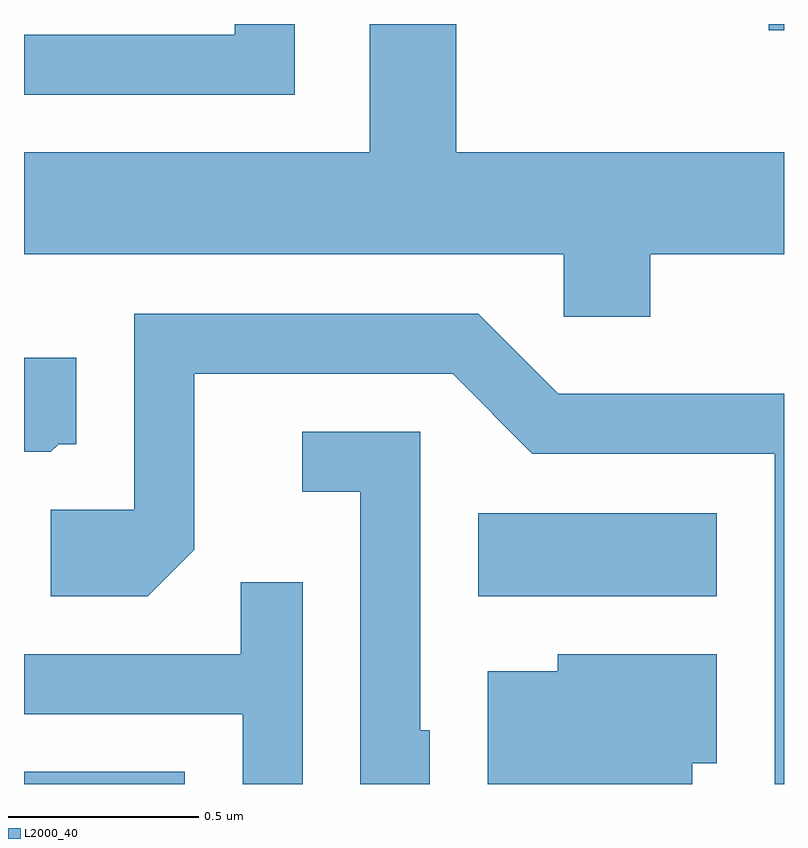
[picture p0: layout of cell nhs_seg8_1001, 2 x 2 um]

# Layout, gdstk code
import gdstk
lib = gdstk.Library(unit=1e-6, precision=1e-09)
def R(c, l, rs):  # rectangles x0, y0, x1, y1
    for r in rs: c.add(gdstk.rectangle(r[:2], r[2:], *l))
def P(c, l, *ps):  # polygons
    for p in ps: c.add(gdstk.Polygon(p, *l))
L2000_40 = (2000, 40)

nhs_seg8_1001 = lib.new_cell('nhs_seg8_1001')
R(nhs_seg8_1001, L2000_40, [(192.611,1848.342,193.034,1848.374), (193.806,1848.836,194.434,1849.054), (194.571,1850.326,194.611,1850.342)])
P(nhs_seg8_1001, L2000_40, [(194.259,1849.736),(194.611,1849.736),(194.611,1850.004),(193.749,1850.004),(193.749,1850.342),(193.521,1850.342),(193.521,1850.004),(192.611,1850.004),(192.611,1849.736),(194.031,1849.736),(194.031,1849.571),(194.259,1849.571)],
  [(193.324,1850.342),(193.166,1850.342),(193.166,1850.314),(192.611,1850.314),(192.611,1850.156),(193.324,1850.156)],
  [(194.611,1849.369),(194.017,1849.369),(193.807,1849.579),(192.901,1849.579),(192.901,1849.064),(192.681,1849.064),(192.681,1848.836),(192.937,1848.836),(193.059,1848.959),(193.059,1849.421),(193.739,1849.421),(193.949,1849.211),(194.586,1849.211),(194.586,1848.342),(194.611,1848.342)],
  [(192.702,1849.236),(192.749,1849.236),(192.749,1849.464),(192.611,1849.464),(192.611,1849.216),(192.682,1849.216)],
  [(193.679,1848.484),(193.654,1848.484),(193.654,1849.269),(193.343,1849.269),(193.343,1849.111),(193.496,1849.111),(193.496,1848.342),(193.679,1848.342)],
  [(193.344,1848.873),(193.181,1848.873),(193.181,1848.684),(192.611,1848.684),(192.611,1848.526),(193.186,1848.526),(193.186,1848.342),(193.344,1848.342)],
  [(194.369,1848.396),(194.434,1848.396),(194.434,1848.684),(194.016,1848.684),(194.016,1848.639),(193.831,1848.639),(193.831,1848.342),(194.369,1848.342)])

lib.write_gds('nhs_seg8_1001.gds')
